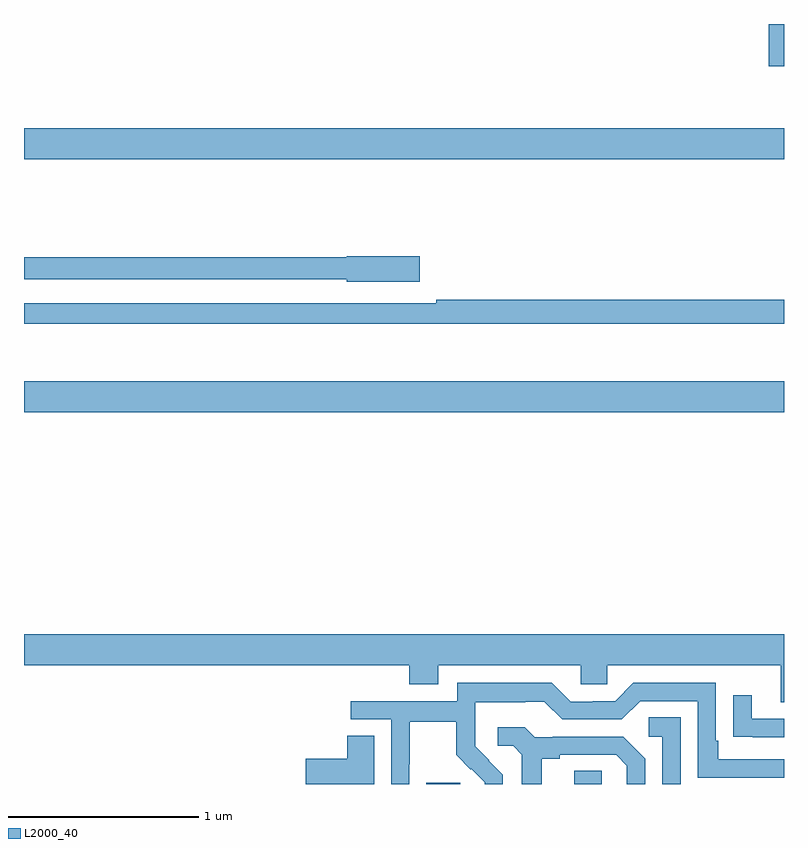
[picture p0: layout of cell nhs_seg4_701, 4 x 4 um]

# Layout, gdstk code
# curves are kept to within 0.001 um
import gdstk
lib = gdstk.Library(unit=1e-6, precision=1e-09)
def R(c, l, rs):  # rectangles x0, y0, x1, y1
    for r in rs: c.add(gdstk.rectangle(r[:2], r[2:], *l))
def P(c, l, *ps):  # polygons
    for p in ps: c.add(gdstk.Polygon(p, *l))
L2000_40 = (2000, 40)

nhs_seg4_701 = lib.new_cell('nhs_seg4_701')
R(nhs_seg4_701, L2000_40, [(149.117,758.9,149.296,758.907), (149.897,758.9,150.042,758.969), (147,760.856,151,761.02), (147,762.188,151,762.352), (150.92,762.678,151,762.9)])
P(nhs_seg4_701, L2000_40, [(149.083,761.678),(148.698,761.678),(148.698,761.672),(147,761.672),(147,761.556),(148.698,761.556),(148.698,761.543),(149.083,761.543)],
  [(151,761.45),(149.17,761.45),(149.17,761.43),(147,761.43),(147,761.322),(151,761.322)],
  [(151,759.688),(147,759.688),(147,759.524),(149.027,759.524),(149.027,759.425),(149.179,759.425),(149.179,759.524),(149.931,759.524),(149.931,759.426),(150.069,759.426),(150.069,759.524),(150.983,759.524),(150.983,759.33),(151,759.33)],
  [(149.028,759.004),(149.031,759.004),(149.031,759.228),(149.275,759.228),(149.275,759.053),(149.352,758.976),(149.355,758.979),(149.426,758.909),(149.426,758.9),(149.52,758.9),(149.52,758.95),(149.374,759.098),(149.374,759.195),(149.376,759.195),(149.376,759.329),(149.639,759.329),(149.639,759.333),(149.739,759.333),(149.832,759.24),(150.147,759.24),(150.243,759.336),(150.546,759.336),(150.546,758.934),(151,758.934),(151,759.03),(150.655,759.03),(150.655,759.127),(150.642,759.127),(150.642,759.432),(150.207,759.432),(150.111,759.336),(149.993,759.336),(149.993,759.333),(149.877,759.333),(149.777,759.433),(149.28,759.433),(149.28,759.336),(148.719,759.336),(148.719,759.24),(148.932,759.24),(148.932,758.9),(149.028,758.9)],
  [(151,759.243),(150.829,759.243),(150.829,759.367),(150.733,759.367),(150.733,759.148),(150.835,759.148),(150.835,759.147),(151,759.147)],
  [(150.456,759.251),(150.288,759.251),(150.288,759.15),(150.36,759.15),(150.36,758.9),(150.456,758.9)],
  [(149.725,759.032),(149.821,759.032),(149.821,759.054),(150.116,759.054),(150.173,758.997),(150.173,758.9),(150.27,758.9),(150.27,759.034),(150.154,759.15),(149.782,759.15),(149.782,759.147),(149.688,759.147),(149.636,759.199),(149.493,759.199),(149.493,759.102),(149.574,759.102),(149.621,759.055),(149.621,758.9),(149.725,758.9)],
  [(148.843,759.155),(148.7,759.155),(148.7,759.032),(148.482,759.032),(148.482,758.9),(148.843,758.9)])

lib.write_gds('nhs_seg4_701.gds')
